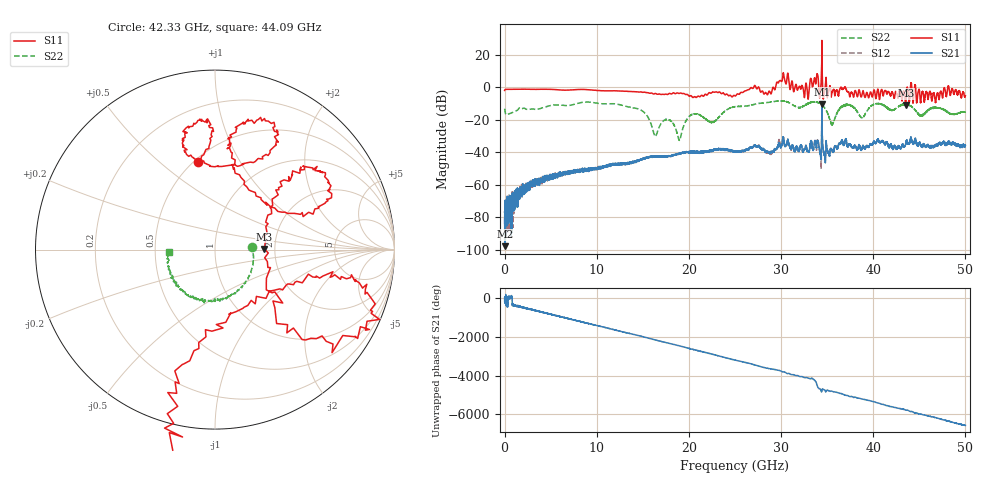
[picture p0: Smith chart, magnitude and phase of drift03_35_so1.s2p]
!Created with skrf (http://scikit-rf.org).
# Hz S RI R 50.0
!freq ReS11 ImS11 ReS21 ImS21 ReS12 ImS12 ReS22 ImS22
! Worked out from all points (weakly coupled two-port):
!   10000 points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, 5.3 MHz to 50 GHz, reference 50 ohm
!   highest |S21| = -10.38 dB at 34.43 GHz (marker M1); lowest = -97.9 dB at 20.3 MHz (marker M2)
!   lowest |S11| = -11.2 dB at 43.52 GHz (marker M3), VSWR 1.76, Z = 87.9 + j0.653 ohm
!   |S11| at or under -10 dB: 43.49358 GHz to 43.54197 GHz (48.39 MHz wide, 0.111 % of centre)
!   |S22| runs from -32.8 to -8.4 dB; largest |S21 - S12| = 0.089
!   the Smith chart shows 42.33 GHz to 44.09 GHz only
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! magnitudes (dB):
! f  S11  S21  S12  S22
! 5.3 MHz  -2.1  -77.0  -80.6  -13.3
! 20.3 MHz  -1.9  -97.9  -77.9  -13.7
! 2.275 GHz  -1.3  -60.1  -61.8  -13.4
! 8.34 GHz  -1.5  -50.8  -51.4  -9.5
! 14.55 GHz  -3.1  -45.3  -45.2  -13.5
! 16.67 GHz  -4.4  -42.9  -42.8  -26.2
! 17.81 GHz  -4.2  -42.3  -42.3  -20.1
! 18.98 GHz  -3.9  -41.1  -41.1  -32.8
! 20.3 GHz  -5.6  -39.5  -40.0  -17.0
! 22.59 GHz  -3.1  -39.3  -38.9  -21.5
! 25.01 GHz  -5.5  -40.0  -39.6  -12.1
! 28.72 GHz  -2.5  -40.4  -40.5  -9.3
! 30.14 GHz  4.4  -33.5  -34.2  -8.5
! 32.74 GHz  2.0  -36.9  -36.6  -10.7
! 33.34 GHz  2.6  -34.6  -35.1  -9.4
! 34.43 GHz  28.6  -10.4  -12.8  -10.8
! 35.54 GHz  -3.1  -39.1  -39.2  -23.5
! 36.99 GHz  -0.1  -32.2  -32.6  -11.1
! 38.77 GHz  -5.2  -38.1  -38.0  -19.0
! 41.67 GHz  -3.1  -37.1  -36.8  -13.4
! 43.52 GHz  -11.2  -34.8  -35.0  -10.8
! 50 GHz  -5.3  -35.8  -36.1  -15.4
